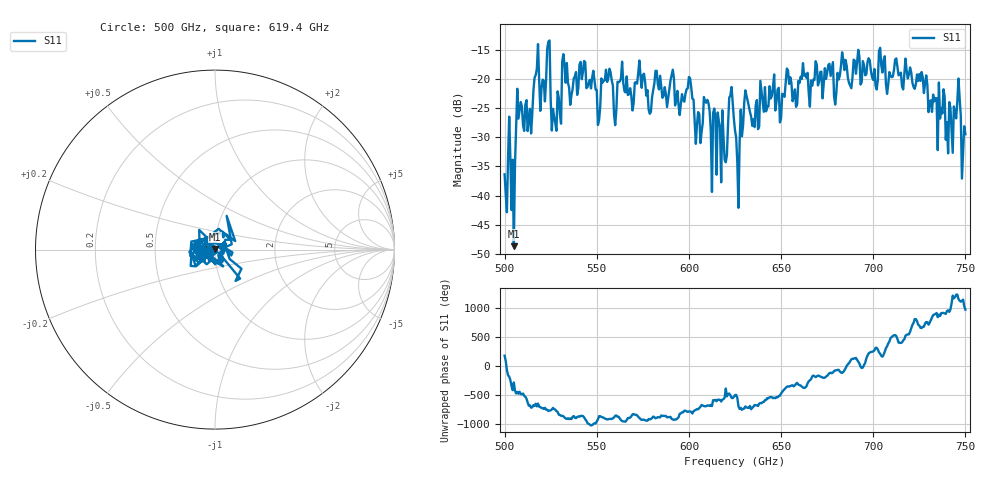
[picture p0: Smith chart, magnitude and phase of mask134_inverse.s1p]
!Created with skrf (http://scikit-rf.org).
# GHz S MA R 50.0
!freq magS11 angS11
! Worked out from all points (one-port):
!   401 points, 500 GHz to 750 GHz, reference 50 ohm
!   lowest |S11| = -48.7 dB at 505 GHz (marker M1), VSWR 1.01, Z = 50.1 + j0.353 ohm
!   |S11| at or under -10 dB: start of sweep to end of sweep
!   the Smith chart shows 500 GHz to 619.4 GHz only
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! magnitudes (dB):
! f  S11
! 500 GHz  -36.4
! 503.1 GHz  -33.6
! 505 GHz  -48.7
! 507.5 GHz  -26.8
! 513.8 GHz  -25.1
! 516.9 GHz  -19.3
! 520.6 GHz  -20.1
! 523.8 GHz  -13.6
! 526.9 GHz  -26.4
! 531.2 GHz  -17.1
! 542.5 GHz  -18.8
! 550.6 GHz  -27.9
! 562.5 GHz  -20.4
! 593.8 GHz  -22.0
! 600 GHz  -19.7
! 605 GHz  -25.7
! 609.4 GHz  -24.1
! 618.8 GHz  -29.9
! 623.1 GHz  -21.4
! 625 GHz  -28.8
! 626.2 GHz  -34.3
! 631.2 GHz  -22.9
! 656.2 GHz  -23.8
! 687.5 GHz  -21.1
! 718.8 GHz  -19.9
! 741.9 GHz  -24.9
! 746.2 GHz  -19.9
! 750 GHz  -29.5
